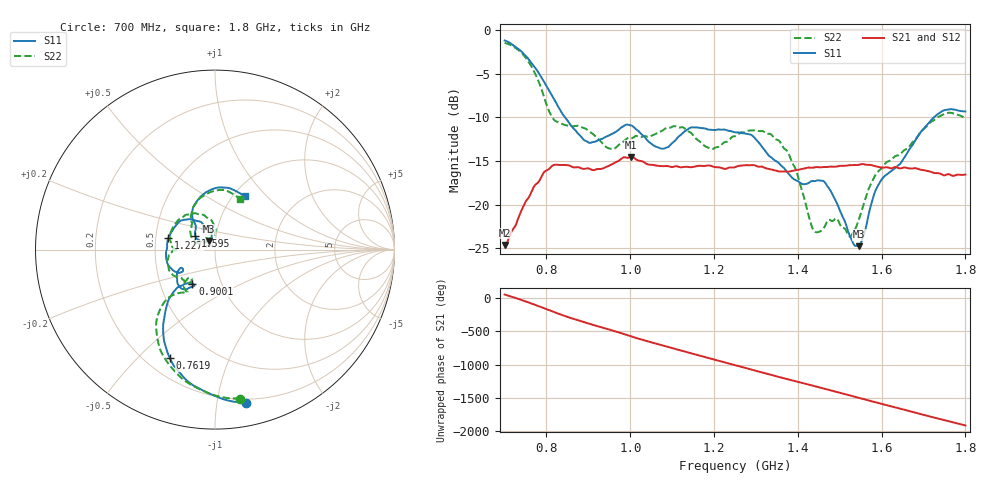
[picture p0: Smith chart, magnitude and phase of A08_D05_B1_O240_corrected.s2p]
! Created with skrf 1.9.0 (http://scikit-rf.org).
# Hz S RI R 50.0
!freq ReS11 ImS11 ReS21 ImS21 ReS12 ImS12 ReS22 ImS22
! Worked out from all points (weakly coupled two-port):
!   1601 points, 700 MHz to 1.8 GHz, reference 50 ohm
!   highest |S21| = -14.56 dB at 1.002 GHz (marker M1); lowest = -24.6 dB at 700.7 MHz (marker M2)
!   lowest |S11| = -24.8 dB at 1.546 GHz (marker M3), VSWR 1.12, Z = 46.6 + j4.46 ohm
!   |S11| at or under -10 dB: 843.8 MHz to 1.725 GHz (881.6 MHz wide, 68.6 % of centre)
!   |S22| runs from -23.7 to -1.5 dB; largest |S21 - S12| = 0.0035
!   S11 on the Smith chart (normalised r, x): 700 MHz: 0.17, -1.20; 761.9 MHz: 0.30, -0.63; 900.1 MHz: 0.73, -0.29; 1.227 GHz: 0.58, +0.08; 1.595 GHz: 0.79, +0.12; 1.8 GHz: 1.13, +0.76
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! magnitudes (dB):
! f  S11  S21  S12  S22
! 700 MHz  -1.2  -24.6  -24.4  -1.5
! 700.7 MHz  -1.2  -24.6  -24.3  -1.5
! 761.9 MHz  -3.7  -18.8  -18.7  -4.0
! 816.9 MHz  -7.8  -15.5  -15.6  -10.2
! 883.6 MHz  -12.3  -15.9  -15.8  -11.1
! 900.1 MHz  -12.9  -15.9  -15.9  -11.6
! 953.7 MHz  -12.0  -15.5  -15.5  -13.6
! 1.002 GHz  -11.0  -14.6  -14.7  -12.4
! 1.067 GHz  -13.5  -15.6  -15.5  -11.8
! 1.145 GHz  -11.2  -15.7  -15.7  -11.8
! 1.227 GHz  -11.4  -15.9  -15.9  -12.8
! 1.25 GHz  -11.7  -15.7  -15.6  -12.2
! 1.357 GHz  -15.4  -16.2  -16.2  -12.8
! 1.395 GHz  -17.2  -16.1  -16.1  -16.0
! 1.434 GHz  -17.3  -15.8  -15.8  -22.5
! 1.468 GHz  -17.7  -15.7  -15.7  -22.1
! 1.525 GHz  -23.7  -15.5  -15.5  -23.7
! 1.546 GHz  -24.8  -15.5  -15.4  -21.7
! 1.595 GHz  -17.5  -15.7  -15.7  -16.1
! 1.617 GHz  -16.4  -15.8  -15.7  -15.0
! 1.732 GHz  -9.7  -16.4  -16.4  -10.1
! 1.8 GHz  -9.4  -16.6  -16.6  -10.1
